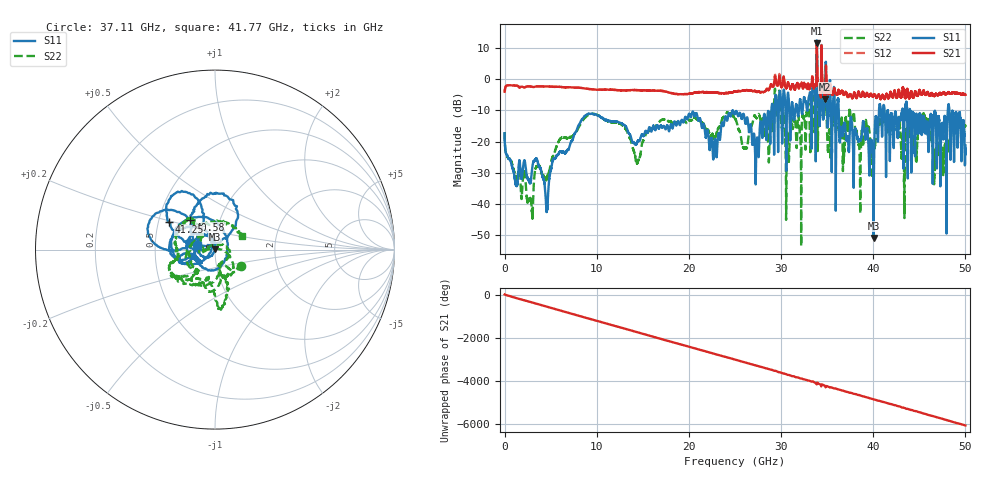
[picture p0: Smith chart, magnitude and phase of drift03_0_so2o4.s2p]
!Created with skrf (http://scikit-rf.org).
# Hz S RI R 50.0
!freq ReS11 ImS11 ReS21 ImS21 ReS12 ImS12 ReS22 ImS22
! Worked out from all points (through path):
!   10001 points, 300 kHz to 50 GHz, reference 50 ohm
!   highest |S21| = 11.54 dB at 33.88 GHz (marker M1); lowest = -6.5 dB at 34.8 GHz (marker M2)
!   group delay of S21, straight-line fit = 337 ps
!   lowest |S11| = -50.8 dB at 40.05 GHz (marker M3), VSWR 1.01, Z = 49.7 + j0.112 ohm
!   |S11| at or under -10 dB: start of sweep to 28.94 GHz; 36.25 GHz to 40.62 GHz (4.37 GHz wide, 11.4 % of centre); 44.02 GHz to 48.1 GHz (4.082 GHz wide, 8.86 % of centre) (the widest 3 of 35)
!   |S22| runs from -53.4 to 7.8 dB; largest |S21 - S12| = 0.64
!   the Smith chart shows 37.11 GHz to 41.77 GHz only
!   S11 on the Smith chart (normalised r, x): 37.11 GHz: 0.82, +0.05; 40.58 GHz: 0.72, +0.25; 41.25 GHz: 0.57, +0.19; 41.77 GHz: 0.82, +0.04
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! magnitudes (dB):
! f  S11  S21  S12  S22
! 300 kHz  -17.3  -4.0  -4.0  -17.0
! 2.85 GHz  -32.3  -2.4  -2.4  -38.2
! 4.585 GHz  -41.6  -2.3  -2.3  -31.8
! 8.335 GHz  -13.1  -2.9  -2.9  -13.9
! 14.43 GHz  -19.9  -3.5  -3.5  -26.6
! 16.67 GHz  -15.5  -3.7  -3.7  -14.3
! 22.82 GHz  -19.3  -4.3  -4.3  -19.0
! 25 GHz  -11.0  -4.0  -4.0  -12.6
! 27.39 GHz  -19.0  -4.1  -4.1  -12.4
! 29.6 GHz  -10.4  -2.1  -2.2  -11.9
! 30.7 GHz  -5.9  -1.6  -1.7  -17.3
! 33.34 GHz  -14.7  -1.0  -1.0  -8.1
! 33.88 GHz  12.3  11.5  11.2  7.8
! 34.8 GHz  -2.6  -6.5  -4.9  -8.4
! 37.11 GHz  -19.6  -4.6  -4.6  -15.4
! 40.05 GHz  -50.8  -5.3  -5.3  -21.6
! 40.58 GHz  -13.3  -5.0  -5.0  -13.9
! 41.25 GHz  -10.5  -6.4  -6.3  -12.8
! 41.67 GHz  -12.5  -6.2  -6.2  -16.0
! 41.77 GHz  -20.0  -5.5  -5.5  -15.4
! 46.76 GHz  -11.3  -4.9  -4.8  -23.2
! 50 GHz  -21.2  -5.1  -5.0  -14.9
